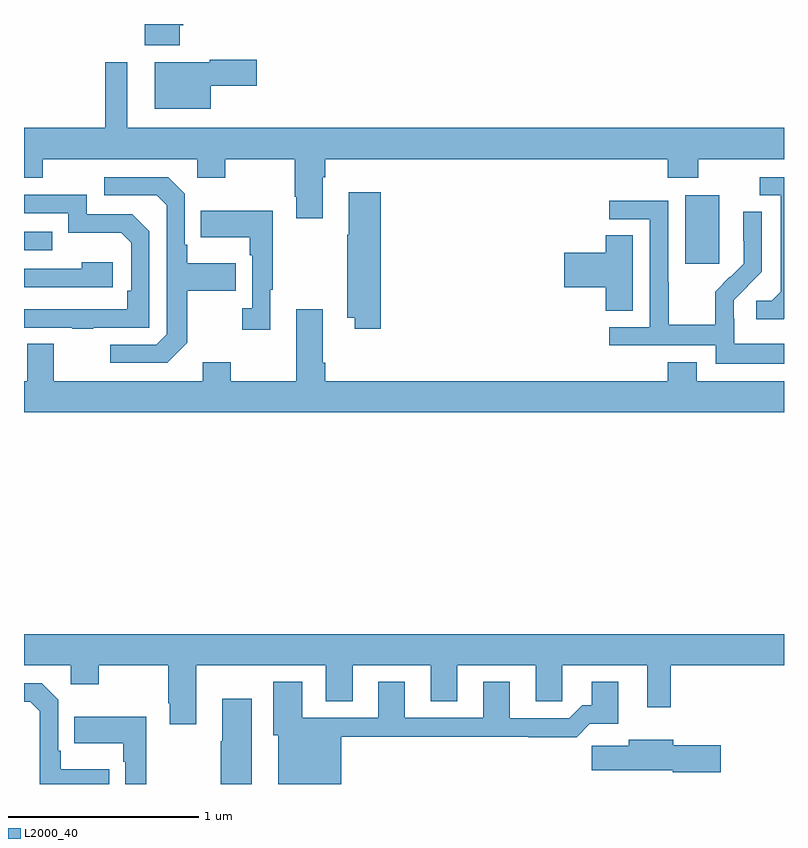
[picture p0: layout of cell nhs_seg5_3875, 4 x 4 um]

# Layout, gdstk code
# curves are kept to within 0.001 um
import gdstk
lib = gdstk.Library(unit=1e-6, precision=1e-09)
def R(c, l, rs):  # rectangles x0, y0, x1, y1
    for r in rs: c.add(gdstk.rectangle(r[:2], r[2:], *l))
def P(c, l, *ps):  # polygons
    for p in ps: c.add(gdstk.Polygon(p, *l))
L2000_40 = (2000, 40)

nhs_seg5_3875 = lib.new_cell('nhs_seg5_3875')
R(nhs_seg5_3875, L2000_40, [(342.479,861.537,342.658,861.898), (339,861.609,339.149,861.705)])
P(nhs_seg5_3875, L2000_40, [(339.819,862.792),(339.839,862.792),(339.839,862.799),(339.636,862.799),(339.636,862.688),(339.819,862.688)],
  [(339.982,862.475),(340.225,862.475),(340.225,862.61),(339.978,862.61),(339.978,862.597),(339.689,862.597),(339.689,862.352),(339.982,862.352)],
  [(340.573,861.992),(340.586,861.992),(340.586,862.088),(342.389,862.088),(342.389,861.989),(342.549,861.989),(342.549,862.088),(343,862.088),(343,862.252),(339.544,862.252),(339.544,862.597),(339.427,862.597),(339.427,862.252),(339,862.252),(339,861.989),(339.099,861.989),(339.099,862.088),(339.912,862.088),(339.912,861.989),(340.059,861.989),(340.059,862.088),(340.426,862.088),(340.426,861.889),(340.433,861.889),(340.433,861.777),(340.573,861.777)],
  [(339.859,861.121),(339.859,861.394),(340.115,861.394),(340.115,861.541),(339.859,861.541),(339.859,861.637),(339.846,861.637),(339.846,861.906),(339.759,861.993),(339.423,861.993),(339.423,861.897),(339.699,861.897),(339.75,861.846),(339.75,861.165),(339.696,861.111),(339.453,861.111),(339.453,861.015),(339.753,861.015)],
  [(343,861.247),(343,861.993),(342.873,861.993),(342.873,861.897),(342.983,861.897),(342.983,861.389),(342.936,861.342),(342.855,861.342),(342.855,861.245),(342.998,861.245)],
  [(340.877,861.913),(340.709,861.913),(340.709,861.689),(340.702,861.689),(340.702,861.254),(340.742,861.254),(340.742,861.195),(340.877,861.195)],
  [(339.365,861.201),(339.66,861.201),(339.66,861.708),(339.57,861.798),(339.33,861.798),(339.33,861.9),(339,861.9),(339,861.804),(339.234,861.804),(339.234,861.701),(339.511,861.701),(339.564,861.648),(339.564,861.394),(339.544,861.394),(339.544,861.297),(339,861.297),(339,861.201),(339.253,861.201),(339.253,861.196),(339.365,861.196)],
  [(343,861.115),(342.738,861.115),(342.738,861.249),(342.736,861.249),(342.736,861.346),(342.882,861.494),(342.882,861.812),(342.786,861.812),(342.786,861.658),(342.788,861.658),(342.788,861.536),(342.717,861.465),(342.714,861.468),(342.637,861.391),(342.637,861.217),(342.393,861.217),(342.393,861.44),(342.39,861.44),(342.39,861.87),(342.081,861.87),(342.081,861.771),(342.294,861.771),(342.294,861.204),(342.081,861.204),(342.081,861.108),(342.642,861.108),(342.642,861.011),(343,861.011)],
  [(340.297,861.401),(340.309,861.401),(340.309,861.817),(339.931,861.817),(339.931,861.677),(340.188,861.677),(340.188,861.581),(340.2,861.581),(340.2,861.302),(340.149,861.302),(340.149,861.189),(340.297,861.189)],
  [(342.205,861.686),(342.062,861.686),(342.062,861.596),(341.844,861.596),(341.844,861.413),(342.062,861.413),(342.062,861.289),(342.205,861.289)],
  [(339.466,861.544),(339.305,861.544),(339.305,861.51),(339,861.51),(339,861.414),(339.466,861.414)],
  [(343,860.92),(342.541,860.92),(342.541,861.019),(342.389,861.019),(342.389,860.92),(340.586,860.92),(340.586,861.016),(340.573,861.016),(340.573,861.298),(340.433,861.298),(340.433,860.92),(340.089,860.92),(340.089,861.019),(339.941,861.019),(339.941,860.92),(339.157,860.92),(339.157,861.115),(339.017,861.115),(339.017,860.92),(339,860.92),(339,860.756),(343,860.756)],
  [(339.907,859.424),(340.589,859.424),(340.589,859.234),(340.729,859.234),(340.729,859.424),(341.141,859.424),(341.141,859.234),(341.281,859.234),(341.281,859.424),(341.693,859.424),(341.693,859.234),(341.832,859.234),(341.832,859.424),(342.281,859.424),(342.281,859.203),(342.403,859.203),(342.403,859.424),(343,859.424),(343,859.588),(339,859.588),(339,859.424),(339.246,859.424),(339.246,859.325),(339.393,859.325),(339.393,859.424),(339.76,859.424),(339.76,859.225),(339.767,859.225),(339.767,859.113),(339.907,859.113)],
  [(340.669,859.048),(341.653,859.048),(341.653,859.046),(341.909,859.046),(341.978,859.115),(342.127,859.115),(342.127,859.336),(341.987,859.336),(341.987,859.213),(341.938,859.213),(341.871,859.146),(341.557,859.146),(341.557,859.336),(341.417,859.336),(341.417,859.149),(341.005,859.149),(341.005,859.336),(340.865,859.336),(340.865,859.149),(340.465,859.149),(340.465,859.336),(340.313,859.336),(340.313,859.056),(340.337,859.056),(340.337,858.799),(340.669,858.799)],
  [(339.449,858.877),(339.193,858.877),(339.193,858.973),(339.18,858.973),(339.18,859.242),(339.093,859.329),(339,859.329),(339,859.233),(339.033,859.233),(339.084,859.182),(339.084,858.799),(339.449,858.799)],
  [(340.198,859.249),(340.043,859.249),(340.043,859.025),(340.036,859.025),(340.036,858.799),(340.198,858.799)],
  [(339.643,859.153),(339.265,859.153),(339.265,859.013),(339.522,859.013),(339.522,858.917),(339.534,858.917),(339.534,858.799),(339.643,858.799)],
  [(342.667,859.002),(342.418,859.002),(342.418,859.033),(342.182,859.033),(342.182,859.001),(341.988,859.001),(341.988,858.872),(342.414,858.872),(342.414,858.86),(342.667,858.86)])

lib.write_gds('nhs_seg5_3875.gds')
